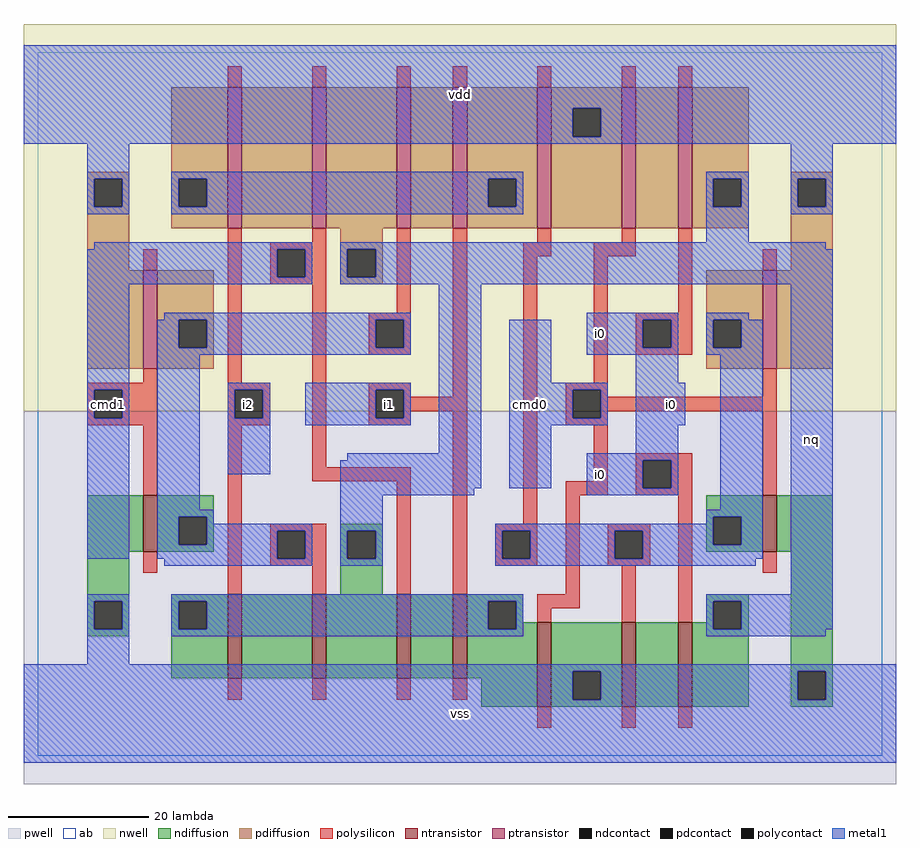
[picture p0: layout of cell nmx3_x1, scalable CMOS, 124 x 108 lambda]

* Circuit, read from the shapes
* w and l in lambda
.subckt nmx3_x1 cmd0 cmd1 i0 i1 i2 nq vdd vss
M1 n1 cmd1 vss VSUBS nfet w=8 l=2
M2 n2 i2 n3 VSUBS nfet w=12 l=2
M3 nq n1 n2 VSUBS nfet w=12 l=2
M4 n4 cmd1 nq VSUBS nfet w=12 l=2
M5 n3 i1 n4 VSUBS nfet w=12 l=2
M6 vss cmd0 n3 VSUBS nfet w=12 l=2
M7 n5 n6 vss VSUBS nfet w=12 l=2
M8 nq i0 n5 VSUBS nfet w=12 l=2
M9 vss cmd0 n6 VSUBS nfet w=8 l=2
M10 n1 cmd1 vdd n7 pfet w=14 l=2
M11 n8 i2 n9 n7 pfet w=20 l=2
M12 nq cmd1 n8 n7 pfet w=20 l=2
M13 n10 n1 nq n7 pfet w=20 l=2
M14 n9 i1 n10 n7 pfet w=20 l=2
M15 vdd n6 n9 n7 pfet w=20 l=2
M16 n11 cmd0 vdd n7 pfet w=20 l=2
M17 nq i0 n11 n7 pfet w=20 l=2
M18 vdd cmd0 n6 n7 pfet w=14 l=2
.ends

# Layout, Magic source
magic
tech scmos
<< ab >>
rect 0 0 120 100
<< pwell >>
rect -2 -4 122 49
<< nwell >>
rect -2 49 122 104
<< polysilicon >>
rect 27 95 29 98
rect 39 95 41 98
rect 51 95 53 98
rect 59 95 61 98
rect 71 95 73 98
rect 83 95 85 98
rect 91 95 93 98
rect 15 69 17 72
rect 15 53 17 55
rect 7 52 17 53
rect 7 48 8 52
rect 12 48 17 52
rect 7 47 17 48
rect 15 37 17 47
rect 27 53 29 75
rect 39 73 41 75
rect 33 72 41 73
rect 33 68 34 72
rect 38 68 41 72
rect 33 67 41 68
rect 27 52 33 53
rect 27 48 28 52
rect 32 48 33 52
rect 27 47 33 48
rect 15 26 17 29
rect 27 23 29 47
rect 39 41 41 67
rect 51 63 53 75
rect 47 62 53 63
rect 47 58 48 62
rect 52 58 53 62
rect 47 57 53 58
rect 47 52 53 53
rect 47 48 48 52
rect 52 51 53 52
rect 59 51 61 75
rect 71 73 73 75
rect 83 73 85 75
rect 52 49 61 51
rect 52 48 53 49
rect 47 47 53 48
rect 39 39 53 41
rect 33 32 41 33
rect 33 28 34 32
rect 38 28 41 32
rect 33 27 41 28
rect 39 23 41 27
rect 51 23 53 39
rect 59 23 61 49
rect 69 71 73 73
rect 79 71 85 73
rect 69 33 71 71
rect 79 53 81 71
rect 91 63 93 75
rect 103 69 105 72
rect 85 62 93 63
rect 85 58 86 62
rect 90 58 93 62
rect 85 57 93 58
rect 75 52 81 53
rect 75 48 76 52
rect 80 51 81 52
rect 103 51 105 55
rect 80 49 105 51
rect 80 48 81 49
rect 75 47 81 48
rect 79 39 81 47
rect 65 32 71 33
rect 65 28 66 32
rect 70 28 71 32
rect 65 27 71 28
rect 75 37 81 39
rect 85 42 93 43
rect 85 38 86 42
rect 90 38 93 42
rect 85 37 93 38
rect 103 37 105 49
rect 75 23 77 37
rect 81 32 87 33
rect 81 28 82 32
rect 86 28 87 32
rect 81 27 87 28
rect 71 21 77 23
rect 71 19 73 21
rect 83 19 85 27
rect 91 19 93 37
rect 103 26 105 29
rect 27 8 29 11
rect 39 8 41 11
rect 51 8 53 11
rect 59 8 61 11
rect 71 4 73 7
rect 83 4 85 7
rect 91 4 93 7
<< ndiffusion >>
rect 7 29 15 37
rect 17 34 25 37
rect 17 30 20 34
rect 24 30 25 34
rect 17 29 25 30
rect 7 22 13 29
rect 43 32 49 33
rect 43 28 44 32
rect 48 28 49 32
rect 43 23 49 28
rect 7 18 8 22
rect 12 18 13 22
rect 7 17 13 18
rect 19 22 27 23
rect 19 18 20 22
rect 24 18 27 22
rect 19 11 27 18
rect 29 11 39 23
rect 41 11 51 23
rect 53 11 59 23
rect 61 22 69 23
rect 61 18 64 22
rect 68 19 69 22
rect 95 34 103 37
rect 95 30 96 34
rect 100 30 103 34
rect 95 29 103 30
rect 105 29 113 37
rect 95 22 101 23
rect 95 19 96 22
rect 68 18 71 19
rect 61 11 71 18
rect 63 7 71 11
rect 73 12 83 19
rect 73 8 76 12
rect 80 8 83 12
rect 73 7 83 8
rect 85 7 91 19
rect 93 18 96 19
rect 100 18 101 22
rect 93 7 101 18
rect 107 12 113 29
rect 107 8 108 12
rect 112 8 113 12
rect 107 7 113 8
<< pdiffusion >>
rect 7 82 13 83
rect 7 78 8 82
rect 12 78 13 82
rect 7 69 13 78
rect 19 82 27 95
rect 19 78 20 82
rect 24 78 27 82
rect 19 75 27 78
rect 29 75 39 95
rect 41 75 51 95
rect 53 75 59 95
rect 61 82 71 95
rect 61 78 64 82
rect 68 78 71 82
rect 61 75 71 78
rect 73 92 83 95
rect 73 88 76 92
rect 80 88 83 92
rect 73 75 83 88
rect 85 75 91 95
rect 93 82 101 95
rect 93 78 96 82
rect 100 78 101 82
rect 93 75 101 78
rect 107 82 113 83
rect 107 78 108 82
rect 112 78 113 82
rect 7 55 15 69
rect 17 62 25 69
rect 17 58 20 62
rect 24 58 25 62
rect 17 55 25 58
rect 43 72 49 75
rect 43 68 44 72
rect 48 68 49 72
rect 43 67 49 68
rect 107 69 113 78
rect 95 62 103 69
rect 95 58 96 62
rect 100 58 103 62
rect 95 55 103 58
rect 105 55 113 69
<< metal1 >>
rect -2 92 122 101
rect -2 88 76 92
rect 80 88 122 92
rect -2 87 122 88
rect 7 82 13 87
rect 7 78 8 82
rect 12 78 13 82
rect 7 77 13 78
rect 19 82 69 83
rect 19 78 20 82
rect 24 78 64 82
rect 68 78 69 82
rect 19 77 69 78
rect 95 82 101 83
rect 95 78 96 82
rect 100 78 101 82
rect 95 73 101 78
rect 107 82 113 87
rect 107 78 108 82
rect 112 78 113 82
rect 107 77 113 78
rect 8 72 39 73
rect 7 68 34 72
rect 38 68 39 72
rect 7 67 39 68
rect 43 72 112 73
rect 43 68 44 72
rect 48 68 113 72
rect 43 67 113 68
rect 7 52 13 67
rect 18 62 53 63
rect 7 48 8 52
rect 12 48 13 52
rect 7 28 13 48
rect 17 58 20 62
rect 24 58 48 62
rect 52 58 53 62
rect 17 57 53 58
rect 17 35 23 57
rect 27 52 33 53
rect 27 48 28 52
rect 32 48 33 52
rect 27 40 33 48
rect 38 52 53 53
rect 38 48 48 52
rect 52 48 53 52
rect 38 47 53 48
rect 57 43 63 67
rect 78 62 91 63
rect 44 42 63 43
rect 43 38 63 42
rect 67 53 73 62
rect 78 58 86 62
rect 90 58 91 62
rect 78 57 91 58
rect 95 62 101 63
rect 95 58 96 62
rect 100 58 103 62
rect 95 57 103 58
rect 85 53 91 57
rect 67 52 81 53
rect 67 48 76 52
rect 80 48 81 52
rect 67 47 81 48
rect 85 47 92 53
rect 67 38 73 47
rect 85 43 91 47
rect 78 42 91 43
rect 78 38 86 42
rect 90 38 91 42
rect 43 37 62 38
rect 78 37 91 38
rect 17 34 25 35
rect 17 30 20 34
rect 24 33 25 34
rect 24 32 39 33
rect 24 30 34 32
rect 17 28 34 30
rect 38 28 39 32
rect 18 27 39 28
rect 43 32 49 37
rect 97 35 103 57
rect 95 34 103 35
rect 95 33 96 34
rect 43 28 44 32
rect 48 28 49 32
rect 43 27 49 28
rect 65 32 96 33
rect 65 28 66 32
rect 70 28 82 32
rect 86 30 96 32
rect 100 30 103 34
rect 86 28 103 30
rect 65 27 102 28
rect 107 23 113 67
rect 7 22 13 23
rect 7 18 8 22
rect 12 18 13 22
rect 7 13 13 18
rect 19 22 69 23
rect 19 18 20 22
rect 24 18 64 22
rect 68 18 69 22
rect 19 17 69 18
rect 95 22 113 23
rect 95 18 96 22
rect 100 18 113 22
rect 95 17 112 18
rect -2 12 122 13
rect -2 8 76 12
rect 80 8 108 12
rect 112 8 122 12
rect -2 -1 122 8
<< ntransistor >>
rect 15 29 17 37
rect 27 11 29 23
rect 39 11 41 23
rect 51 11 53 23
rect 59 11 61 23
rect 103 29 105 37
rect 71 7 73 19
rect 83 7 85 19
rect 91 7 93 19
<< ptransistor >>
rect 27 75 29 95
rect 39 75 41 95
rect 51 75 53 95
rect 59 75 61 95
rect 71 75 73 95
rect 83 75 85 95
rect 91 75 93 95
rect 15 55 17 69
rect 103 55 105 69
<< polycontact >>
rect 8 48 12 52
rect 34 68 38 72
rect 28 48 32 52
rect 48 58 52 62
rect 48 48 52 52
rect 34 28 38 32
rect 86 58 90 62
rect 76 48 80 52
rect 66 28 70 32
rect 86 38 90 42
rect 82 28 86 32
<< ndcontact >>
rect 20 30 24 34
rect 44 28 48 32
rect 8 18 12 22
rect 20 18 24 22
rect 64 18 68 22
rect 96 30 100 34
rect 76 8 80 12
rect 96 18 100 22
rect 108 8 112 12
<< pdcontact >>
rect 8 78 12 82
rect 20 78 24 82
rect 64 78 68 82
rect 76 88 80 92
rect 96 78 100 82
rect 108 78 112 82
rect 20 58 24 62
rect 44 68 48 72
rect 96 58 100 62
<< labels >>
rlabel polycontact 10 50 10 50 6 cmd1
rlabel polycontact 10 50 10 50 6 cmd1
rlabel polycontact 30 50 30 50 6 i2
rlabel polycontact 30 50 30 50 6 i2
rlabel metal1 60 6 60 6 6 vss
rlabel metal1 60 6 60 6 6 vss
rlabel polycontact 50 50 50 50 6 i1
rlabel polycontact 50 50 50 50 6 i1
rlabel metal1 70 50 70 50 6 cmd0
rlabel metal1 70 50 70 50 6 cmd0
rlabel metal1 60 94 60 94 6 vdd
rlabel metal1 60 94 60 94 6 vdd
rlabel metal1 80 40 80 40 6 i0
rlabel metal1 80 40 80 40 6 i0
rlabel metal1 90 50 90 50 6 i0
rlabel metal1 90 50 90 50 6 i0
rlabel metal1 80 60 80 60 6 i0
rlabel metal1 80 60 80 60 6 i0
rlabel metal1 110 45 110 45 6 nq
rlabel metal1 110 45 110 45 6 nq
<< end >>
